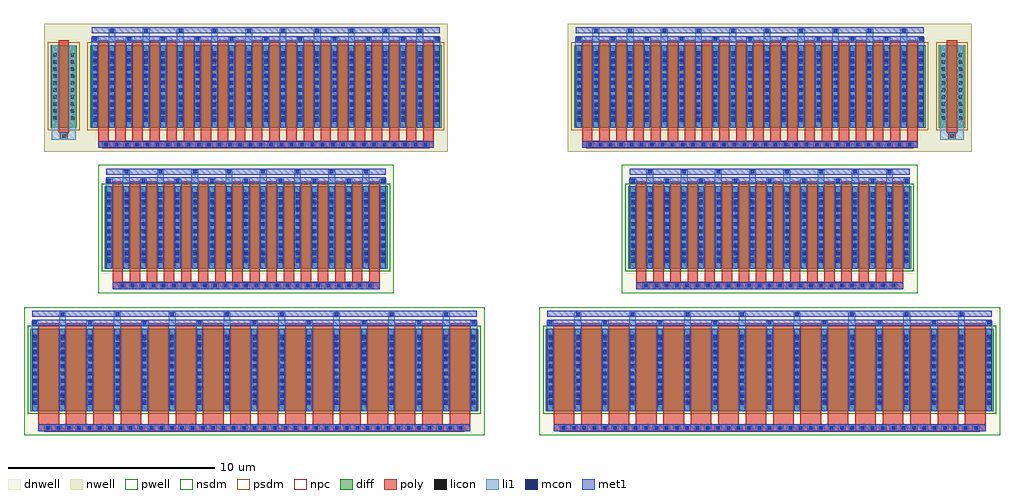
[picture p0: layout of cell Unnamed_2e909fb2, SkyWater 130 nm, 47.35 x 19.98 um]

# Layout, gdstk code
import gdstk
lib = gdstk.Library(unit=1e-6, precision=5e-09)
def R(c, l, rs):  # rectangles x0, y0, x1, y1
    for r in rs: c.add(gdstk.rectangle(r[:2], r[2:], *l))
def A(c, l, x, y, w, h, nx, ny, dx, dy):  # array of equal rectangles
    R(c, l, [(x+i*dx, y+j*dy, x+i*dx+w, y+j*dy+h) for i in range(nx) for j in range(ny)])
dnwell = (64, 18)
nwell = (64, 20)
pwell = (64, 44)
diff = (65, 20)
poly = (66, 20)
licon = (66, 44)
li1 = (67, 20)
mcon = (67, 44)
met1 = (68, 20)
nsdm = (93, 44)
psdm = (94, 20)
npc = (95, 20)

unnamed_d3320758 = lib.new_cell('Unnamed_d3320758')
R(unnamed_d3320758, nwell, [(-9.795,-3.11,9.795,3.115)])
R(unnamed_d3320758, diff, [(-9.485,-1.93,-8.205,2.07), (-7.565,-1.93,9.485,2.07)])
A(unnamed_d3320758, poly, -6.955, -2.91, 0.33, 0.33, 32, 1, 0.5, 0)
A(unnamed_d3320758, poly, -7.175, -2.58, 0.5, 0.4, 20, 1, 0.83, 0)
A(unnamed_d3320758, poly, -7.175, -2.18, 0.5, 4.5, 20, 1, 0.83, 0)
R(unnamed_d3320758, poly, [(-7.175,-2.91,9.095,-2.58), (-9.01,-2.51,-8.68,-2.18), (-9.01,-2.51,-8.68,-2.18), (-9.095,-2.18,-8.595,2.32)])
A(unnamed_d3320758, licon, -6.875, -2.83, 0.17, 0.17, 32, 1, 0.5, 0)
A(unnamed_d3320758, licon, -9.345, -1.545, 0.17, 0.17, 1, 10, 0, 0.34)
A(unnamed_d3320758, licon, -8.515, -1.545, 0.17, 0.17, 1, 10, 0, 0.34)
A(unnamed_d3320758, licon, -7.425, -1.545, 0.17, 0.17, 21, 10, 0.83, 0.34)
R(unnamed_d3320758, licon, [(-8.93,-2.43,-8.76,-2.26)])
A(unnamed_d3320758, li1, -6.955, -2.91, 0.33, 0.33, 32, 1, 0.5, 0)
A(unnamed_d3320758, li1, -7.505, -1.93, 0.33, 4, 21, 1, 0.83, 0)
A(unnamed_d3320758, li1, -7.425, -1.635, 0.17, 0.17, 21, 10, 0.83, 0.36)
A(unnamed_d3320758, li1, -7.425, -1.635, 0.17, 3.41, 21, 1, 0.83, 0)
A(unnamed_d3320758, li1, -9.425, -1.625, 0.33, 0.33, 1, 10, 0, 0.34)
A(unnamed_d3320758, li1, -8.595, -1.625, 0.33, 0.33, 1, 10, 0, 0.34)
A(unnamed_d3320758, li1, -7.505, -1.625, 0.33, 0.33, 21, 10, 0.83, 0.34)
A(unnamed_d3320758, li1, -7.505, 2.07, 0.33, 0.375, 11, 1, 1.66, 0)
A(unnamed_d3320758, li1, -6.675, 2.07, 0.33, 0.805, 10, 1, 1.66, 0)
A(unnamed_d3320758, li1, -7.425, 2.275, 0.17, 0.17, 11, 1, 1.66, 0)
A(unnamed_d3320758, li1, -6.595, 2.705, 0.17, 0.17, 10, 1, 1.66, 0)
R(unnamed_d3320758, li1, [(-9.425,-2.51,-9.01,-2.18), (-9.425,-2.51,-9.095,-1.93), (-9.01,-2.51,-8.68,-2.18), (-8.68,-2.51,-8.265,-2.18), (-8.595,-2.51,-8.265,-1.93), (-9.425,-1.93,-9.095,2.07), (-8.595,-1.93,-8.265,2.07)])
A(unnamed_d3320758, mcon, -6.875, -2.83, 0.17, 0.17, 32, 1, 0.5, 0)
A(unnamed_d3320758, mcon, -7.425, -1.635, 0.17, 0.17, 21, 10, 0.83, 0.36)
A(unnamed_d3320758, mcon, -7.425, 2.275, 0.17, 0.17, 11, 1, 1.66, 0)
A(unnamed_d3320758, mcon, -6.595, 2.705, 0.17, 0.17, 10, 1, 1.66, 0)
A(unnamed_d3320758, met1, -6.935, -2.89, 0.29, 0.29, 32, 1, 0.5, 0)
A(unnamed_d3320758, met1, -7.485, -1.93, 0.29, 4, 21, 1, 0.83, 0)
A(unnamed_d3320758, met1, -7.485, -1.695, 0.29, 0.29, 21, 10, 0.83, 0.36)
A(unnamed_d3320758, met1, -7.485, 2.215, 0.29, 0.29, 11, 1, 1.66, 0)
A(unnamed_d3320758, met1, -6.655, 2.645, 0.29, 0.29, 10, 1, 1.66, 0)
R(unnamed_d3320758, met1, [(-7.175,-2.91,9.095,-2.58), (-7.485,2.215,9.405,2.505), (-7.485,2.645,9.405,2.935)])
R(unnamed_d3320758, psdm, [(-9.615,-2.06,-8.075,2.2), (-7.695,-2.06,9.615,2.2)])
A(unnamed_d3320758, npc, -6.975, -2.93, 0.37, 0.37, 32, 1, 0.5, 0)
R(unnamed_d3320758, npc, [(-6.975,-2.93,-6.105,-2.56), (-6.975,-2.93,-6.105,-2.56), (-6.475,-2.93,-5.605,-2.56), (-6.475,-2.93,-5.605,-2.56), (-5.975,-2.93,-5.105,-2.56), (-5.975,-2.93,-5.105,-2.56), (-5.475,-2.93,-4.605,-2.56), (-5.475,-2.93,-4.605,-2.56), (-4.975,-2.93,-4.105,-2.56), (-4.975,-2.93,-4.105,-2.56), (-4.475,-2.93,-3.605,-2.56), (-4.475,-2.93,-3.605,-2.56), (-3.975,-2.93,-3.105,-2.56), (-3.975,-2.93,-3.105,-2.56), (-3.475,-2.93,-2.605,-2.56), (-3.475,-2.93,-2.605,-2.56), (-2.975,-2.93,-2.105,-2.56), (-2.975,-2.93,-2.105,-2.56), (-2.475,-2.93,-1.605,-2.56), (-2.475,-2.93,-1.605,-2.56), (-1.975,-2.93,-1.105,-2.56), (-1.975,-2.93,-1.105,-2.56), (-1.475,-2.93,-0.605,-2.56), (-1.475,-2.93,-0.605,-2.56), (-0.975,-2.93,-0.105,-2.56), (-0.975,-2.93,-0.105,-2.56), (-0.475,-2.93,0.395,-2.56), (-0.475,-2.93,0.395,-2.56), (0.025,-2.93,0.895,-2.56), (0.025,-2.93,0.895,-2.56), (0.525,-2.93,1.395,-2.56), (0.525,-2.93,1.395,-2.56), (1.025,-2.93,1.895,-2.56), (1.025,-2.93,1.895,-2.56), (1.525,-2.93,2.395,-2.56), (1.525,-2.93,2.395,-2.56), (2.025,-2.93,2.895,-2.56), (2.025,-2.93,2.895,-2.56), (2.525,-2.93,3.395,-2.56), (2.525,-2.93,3.395,-2.56), (3.025,-2.93,3.895,-2.56), (3.025,-2.93,3.895,-2.56), (3.525,-2.93,4.395,-2.56), (3.525,-2.93,4.395,-2.56), (4.025,-2.93,4.895,-2.56), (4.025,-2.93,4.895,-2.56), (4.525,-2.93,5.395,-2.56), (4.525,-2.93,5.395,-2.56), (5.025,-2.93,5.895,-2.56), (5.025,-2.93,5.895,-2.56), (5.525,-2.93,6.395,-2.56), (5.525,-2.93,6.395,-2.56), (6.025,-2.93,6.895,-2.56), (6.025,-2.93,6.895,-2.56), (6.525,-2.93,7.395,-2.56), (6.525,-2.93,7.395,-2.56), (7.025,-2.93,7.895,-2.56), (7.025,-2.93,7.895,-2.56), (7.525,-2.93,8.395,-2.56), (7.525,-2.93,8.395,-2.56), (8.025,-2.93,8.895,-2.56), (8.025,-2.93,8.895,-2.56), (-9.03,-2.53,-8.66,-2.16)])

unnamed_d97bb4dd = lib.new_cell('Unnamed_d97bb4dd')
R(unnamed_d97bb4dd, nwell, [(-9.795,-3.11,9.795,3.115)])
R(unnamed_d97bb4dd, diff, [(-9.485,-1.93,7.565,2.07), (8.205,-1.93,9.485,2.07)])
A(unnamed_d97bb4dd, poly, -8.875, -2.91, 0.33, 0.33, 32, 1, 0.5, 0)
A(unnamed_d97bb4dd, poly, -9.095, -2.58, 0.5, 0.4, 20, 1, 0.83, 0)
A(unnamed_d97bb4dd, poly, -9.095, -2.18, 0.5, 4.5, 20, 1, 0.83, 0)
R(unnamed_d97bb4dd, poly, [(-9.095,-2.91,7.175,-2.58), (8.68,-2.51,9.01,-2.18), (8.68,-2.51,9.01,-2.18), (8.595,-2.18,9.095,2.32)])
A(unnamed_d97bb4dd, licon, -8.795, -2.83, 0.17, 0.17, 32, 1, 0.5, 0)
A(unnamed_d97bb4dd, licon, -9.345, -1.545, 0.17, 0.17, 21, 10, 0.83, 0.34)
A(unnamed_d97bb4dd, licon, 8.345, -1.545, 0.17, 0.17, 1, 10, 0, 0.34)
A(unnamed_d97bb4dd, licon, 9.175, -1.545, 0.17, 0.17, 1, 10, 0, 0.34)
R(unnamed_d97bb4dd, licon, [(8.76,-2.43,8.93,-2.26)])
A(unnamed_d97bb4dd, li1, -8.875, -2.91, 0.33, 0.33, 32, 1, 0.5, 0)
A(unnamed_d97bb4dd, li1, -9.425, -1.93, 0.33, 4, 21, 1, 0.83, 0)
A(unnamed_d97bb4dd, li1, -9.345, -1.635, 0.17, 0.17, 21, 10, 0.83, 0.36)
A(unnamed_d97bb4dd, li1, -9.345, -1.635, 0.17, 3.41, 21, 1, 0.83, 0)
A(unnamed_d97bb4dd, li1, -9.425, -1.625, 0.33, 0.33, 21, 10, 0.83, 0.34)
A(unnamed_d97bb4dd, li1, 8.265, -1.625, 0.33, 0.33, 1, 10, 0, 0.34)
A(unnamed_d97bb4dd, li1, 9.095, -1.625, 0.33, 0.33, 1, 10, 0, 0.34)
A(unnamed_d97bb4dd, li1, -9.425, 2.07, 0.33, 0.375, 11, 1, 1.66, 0)
A(unnamed_d97bb4dd, li1, -8.595, 2.07, 0.33, 0.805, 10, 1, 1.66, 0)
A(unnamed_d97bb4dd, li1, -9.345, 2.275, 0.17, 0.17, 11, 1, 1.66, 0)
A(unnamed_d97bb4dd, li1, -8.515, 2.705, 0.17, 0.17, 10, 1, 1.66, 0)
R(unnamed_d97bb4dd, li1, [(8.265,-2.51,8.68,-2.18), (8.265,-2.51,8.595,-1.93), (8.68,-2.51,9.01,-2.18), (9.01,-2.51,9.425,-2.18), (9.095,-2.51,9.425,-1.93), (8.265,-1.93,8.595,2.07), (9.095,-1.93,9.425,2.07)])
A(unnamed_d97bb4dd, mcon, -8.795, -2.83, 0.17, 0.17, 32, 1, 0.5, 0)
A(unnamed_d97bb4dd, mcon, -9.345, -1.635, 0.17, 0.17, 21, 10, 0.83, 0.36)
A(unnamed_d97bb4dd, mcon, -9.345, 2.275, 0.17, 0.17, 11, 1, 1.66, 0)
A(unnamed_d97bb4dd, mcon, -8.515, 2.705, 0.17, 0.17, 10, 1, 1.66, 0)
A(unnamed_d97bb4dd, met1, -8.855, -2.89, 0.29, 0.29, 32, 1, 0.5, 0)
A(unnamed_d97bb4dd, met1, -9.405, -1.93, 0.29, 4, 21, 1, 0.83, 0)
A(unnamed_d97bb4dd, met1, -9.405, -1.695, 0.29, 0.29, 21, 10, 0.83, 0.36)
A(unnamed_d97bb4dd, met1, -9.405, 2.215, 0.29, 0.29, 11, 1, 1.66, 0)
A(unnamed_d97bb4dd, met1, -8.575, 2.645, 0.29, 0.29, 10, 1, 1.66, 0)
R(unnamed_d97bb4dd, met1, [(-9.095,-2.91,7.175,-2.58), (-9.405,2.215,7.485,2.505), (-9.405,2.645,7.485,2.935)])
R(unnamed_d97bb4dd, psdm, [(-9.615,-2.06,7.695,2.2), (8.075,-2.06,9.615,2.2)])
A(unnamed_d97bb4dd, npc, -8.895, -2.93, 0.37, 0.37, 32, 1, 0.5, 0)
R(unnamed_d97bb4dd, npc, [(-8.895,-2.93,-8.025,-2.56), (-8.895,-2.93,-8.025,-2.56), (-8.395,-2.93,-7.525,-2.56), (-8.395,-2.93,-7.525,-2.56), (-7.895,-2.93,-7.025,-2.56), (-7.895,-2.93,-7.025,-2.56), (-7.395,-2.93,-6.525,-2.56), (-7.395,-2.93,-6.525,-2.56), (-6.895,-2.93,-6.025,-2.56), (-6.895,-2.93,-6.025,-2.56), (-6.395,-2.93,-5.525,-2.56), (-6.395,-2.93,-5.525,-2.56), (-5.895,-2.93,-5.025,-2.56), (-5.895,-2.93,-5.025,-2.56), (-5.395,-2.93,-4.525,-2.56), (-5.395,-2.93,-4.525,-2.56), (-4.895,-2.93,-4.025,-2.56), (-4.895,-2.93,-4.025,-2.56), (-4.395,-2.93,-3.525,-2.56), (-4.395,-2.93,-3.525,-2.56), (-3.895,-2.93,-3.025,-2.56), (-3.895,-2.93,-3.025,-2.56), (-3.395,-2.93,-2.525,-2.56), (-3.395,-2.93,-2.525,-2.56), (-2.895,-2.93,-2.025,-2.56), (-2.895,-2.93,-2.025,-2.56), (-2.395,-2.93,-1.525,-2.56), (-2.395,-2.93,-1.525,-2.56), (-1.895,-2.93,-1.025,-2.56), (-1.895,-2.93,-1.025,-2.56), (-1.395,-2.93,-0.525,-2.56), (-1.395,-2.93,-0.525,-2.56), (-0.895,-2.93,-0.025,-2.56), (-0.895,-2.93,-0.025,-2.56), (-0.395,-2.93,0.475,-2.56), (-0.395,-2.93,0.475,-2.56), (0.105,-2.93,0.975,-2.56), (0.105,-2.93,0.975,-2.56), (0.605,-2.93,1.475,-2.56), (0.605,-2.93,1.475,-2.56), (1.105,-2.93,1.975,-2.56), (1.105,-2.93,1.975,-2.56), (1.605,-2.93,2.475,-2.56), (1.605,-2.93,2.475,-2.56), (2.105,-2.93,2.975,-2.56), (2.105,-2.93,2.975,-2.56), (2.605,-2.93,3.475,-2.56), (2.605,-2.93,3.475,-2.56), (3.105,-2.93,3.975,-2.56), (3.105,-2.93,3.975,-2.56), (3.605,-2.93,4.475,-2.56), (3.605,-2.93,4.475,-2.56), (4.105,-2.93,4.975,-2.56), (4.105,-2.93,4.975,-2.56), (4.605,-2.93,5.475,-2.56), (4.605,-2.93,5.475,-2.56), (5.105,-2.93,5.975,-2.56), (5.105,-2.93,5.975,-2.56), (5.605,-2.93,6.475,-2.56), (5.605,-2.93,6.475,-2.56), (6.105,-2.93,6.975,-2.56), (6.105,-2.93,6.975,-2.56), (8.66,-2.53,9.03,-2.16)])

unnamed_47f8d335 = lib.new_cell('Unnamed_47f8d335')
R(unnamed_47f8d335, dnwell, [(-11.175,-3.11,11.175,3.115)])
R(unnamed_47f8d335, pwell, [(-11.175,-3.11,11.175,3.115)])
R(unnamed_47f8d335, diff, [(-10.865,-1.93,10.865,2.07)])
A(unnamed_47f8d335, poly, -10.165, -2.91, 0.33, 0.33, 41, 1, 0.5, 0)
A(unnamed_47f8d335, poly, -10.475, -2.58, 1, 0.4, 16, 1, 1.33, 0)
A(unnamed_47f8d335, poly, -10.475, -2.18, 1, 4.5, 16, 1, 1.33, 0)
R(unnamed_47f8d335, poly, [(-10.475,-2.91,10.475,-2.58)])
A(unnamed_47f8d335, licon, -10.085, -2.83, 0.17, 0.17, 41, 1, 0.5, 0)
A(unnamed_47f8d335, licon, -10.725, -1.545, 0.17, 0.17, 17, 10, 1.33, 0.34)
A(unnamed_47f8d335, li1, -10.165, -2.91, 0.33, 0.33, 41, 1, 0.5, 0)
A(unnamed_47f8d335, li1, -10.805, -1.93, 0.33, 4, 17, 1, 1.33, 0)
A(unnamed_47f8d335, li1, -10.725, -1.635, 0.17, 0.17, 17, 10, 1.33, 0.36)
A(unnamed_47f8d335, li1, -10.725, -1.635, 0.17, 3.41, 17, 1, 1.33, 0)
A(unnamed_47f8d335, li1, -10.805, -1.625, 0.33, 0.33, 17, 10, 1.33, 0.34)
A(unnamed_47f8d335, li1, -10.805, 2.07, 0.33, 0.375, 9, 1, 2.66, 0)
A(unnamed_47f8d335, li1, -9.475, 2.07, 0.33, 0.805, 8, 1, 2.66, 0)
A(unnamed_47f8d335, li1, -10.725, 2.275, 0.17, 0.17, 9, 1, 2.66, 0)
A(unnamed_47f8d335, li1, -9.395, 2.705, 0.17, 0.17, 8, 1, 2.66, 0)
A(unnamed_47f8d335, mcon, -10.085, -2.83, 0.17, 0.17, 41, 1, 0.5, 0)
A(unnamed_47f8d335, mcon, -10.725, -1.635, 0.17, 0.17, 17, 10, 1.33, 0.36)
A(unnamed_47f8d335, mcon, -10.725, 2.275, 0.17, 0.17, 9, 1, 2.66, 0)
A(unnamed_47f8d335, mcon, -9.395, 2.705, 0.17, 0.17, 8, 1, 2.66, 0)
A(unnamed_47f8d335, met1, -10.145, -2.89, 0.29, 0.29, 41, 1, 0.5, 0)
A(unnamed_47f8d335, met1, -10.785, -1.93, 0.29, 4, 17, 1, 1.33, 0)
A(unnamed_47f8d335, met1, -10.785, -1.695, 0.29, 0.29, 17, 10, 1.33, 0.36)
A(unnamed_47f8d335, met1, -10.785, 2.215, 0.29, 0.29, 9, 1, 2.66, 0)
A(unnamed_47f8d335, met1, -9.455, 2.645, 0.29, 0.29, 8, 1, 2.66, 0)
R(unnamed_47f8d335, met1, [(-10.475,-2.91,10.475,-2.58), (-10.785,2.215,10.785,2.505), (-10.785,2.645,10.785,2.935)])
R(unnamed_47f8d335, nsdm, [(-10.995,-2.06,10.995,2.2)])
A(unnamed_47f8d335, npc, -10.185, -2.93, 0.37, 0.37, 41, 1, 0.5, 0)
R(unnamed_47f8d335, npc, [(-10.185,-2.93,-9.315,-2.56), (-10.185,-2.93,-9.315,-2.56), (-9.685,-2.93,-8.815,-2.56), (-9.685,-2.93,-8.815,-2.56), (-9.185,-2.93,-8.315,-2.56), (-9.185,-2.93,-8.315,-2.56), (-8.685,-2.93,-7.815,-2.56), (-8.685,-2.93,-7.815,-2.56), (-8.185,-2.93,-7.315,-2.56), (-8.185,-2.93,-7.315,-2.56), (-7.685,-2.93,-6.815,-2.56), (-7.685,-2.93,-6.815,-2.56), (-7.185,-2.93,-6.315,-2.56), (-7.185,-2.93,-6.315,-2.56), (-6.685,-2.93,-5.815,-2.56), (-6.685,-2.93,-5.815,-2.56), (-6.185,-2.93,-5.315,-2.56), (-6.185,-2.93,-5.315,-2.56), (-5.685,-2.93,-4.815,-2.56), (-5.685,-2.93,-4.815,-2.56), (-5.185,-2.93,-4.315,-2.56), (-5.185,-2.93,-4.315,-2.56), (-4.685,-2.93,-3.815,-2.56), (-4.685,-2.93,-3.815,-2.56), (-4.185,-2.93,-3.315,-2.56), (-4.185,-2.93,-3.315,-2.56), (-3.685,-2.93,-2.815,-2.56), (-3.685,-2.93,-2.815,-2.56), (-3.185,-2.93,-2.315,-2.56), (-3.185,-2.93,-2.315,-2.56), (-2.685,-2.93,-1.815,-2.56), (-2.685,-2.93,-1.815,-2.56), (-2.185,-2.93,-1.315,-2.56), (-2.185,-2.93,-1.315,-2.56), (-1.685,-2.93,-0.815,-2.56), (-1.685,-2.93,-0.815,-2.56), (-1.185,-2.93,-0.315,-2.56), (-1.185,-2.93,-0.315,-2.56), (-0.685,-2.93,0.185,-2.56), (-0.685,-2.93,0.185,-2.56), (-0.185,-2.93,0.685,-2.56), (-0.185,-2.93,0.685,-2.56), (0.315,-2.93,1.185,-2.56), (0.315,-2.93,1.185,-2.56), (0.815,-2.93,1.685,-2.56), (0.815,-2.93,1.685,-2.56), (1.315,-2.93,2.185,-2.56), (1.315,-2.93,2.185,-2.56), (1.815,-2.93,2.685,-2.56), (1.815,-2.93,2.685,-2.56), (2.315,-2.93,3.185,-2.56), (2.315,-2.93,3.185,-2.56), (2.815,-2.93,3.685,-2.56), (2.815,-2.93,3.685,-2.56), (3.315,-2.93,4.185,-2.56), (3.315,-2.93,4.185,-2.56), (3.815,-2.93,4.685,-2.56), (3.815,-2.93,4.685,-2.56), (4.315,-2.93,5.185,-2.56), (4.315,-2.93,5.185,-2.56), (4.815,-2.93,5.685,-2.56), (4.815,-2.93,5.685,-2.56), (5.315,-2.93,6.185,-2.56), (5.315,-2.93,6.185,-2.56), (5.815,-2.93,6.685,-2.56), (5.815,-2.93,6.685,-2.56), (6.315,-2.93,7.185,-2.56), (6.315,-2.93,7.185,-2.56), (6.815,-2.93,7.685,-2.56), (6.815,-2.93,7.685,-2.56), (7.315,-2.93,8.185,-2.56), (7.315,-2.93,8.185,-2.56), (7.815,-2.93,8.685,-2.56), (7.815,-2.93,8.685,-2.56), (8.315,-2.93,9.185,-2.56), (8.315,-2.93,9.185,-2.56), (8.815,-2.93,9.685,-2.56), (8.815,-2.93,9.685,-2.56), (9.315,-2.93,10.185,-2.56), (9.315,-2.93,10.185,-2.56)])

unnamed_654f1eba = lib.new_cell('Unnamed_654f1eba')
R(unnamed_654f1eba, dnwell, [(-11.175,-3.11,11.175,3.115)])
R(unnamed_654f1eba, pwell, [(-11.175,-3.11,11.175,3.115)])
R(unnamed_654f1eba, diff, [(-10.865,-1.93,10.865,2.07)])
A(unnamed_654f1eba, poly, -10.165, -2.91, 0.33, 0.33, 41, 1, 0.5, 0)
A(unnamed_654f1eba, poly, -10.475, -2.58, 1, 0.4, 16, 1, 1.33, 0)
A(unnamed_654f1eba, poly, -10.475, -2.18, 1, 4.5, 16, 1, 1.33, 0)
R(unnamed_654f1eba, poly, [(-10.475,-2.91,10.475,-2.58)])
A(unnamed_654f1eba, licon, -10.085, -2.83, 0.17, 0.17, 41, 1, 0.5, 0)
A(unnamed_654f1eba, licon, -10.725, -1.545, 0.17, 0.17, 17, 10, 1.33, 0.34)
A(unnamed_654f1eba, li1, -10.165, -2.91, 0.33, 0.33, 41, 1, 0.5, 0)
A(unnamed_654f1eba, li1, -10.805, -1.93, 0.33, 4, 17, 1, 1.33, 0)
A(unnamed_654f1eba, li1, -10.725, -1.635, 0.17, 0.17, 17, 10, 1.33, 0.36)
A(unnamed_654f1eba, li1, -10.725, -1.635, 0.17, 3.41, 17, 1, 1.33, 0)
A(unnamed_654f1eba, li1, -10.805, -1.625, 0.33, 0.33, 17, 10, 1.33, 0.34)
A(unnamed_654f1eba, li1, -10.805, 2.07, 0.33, 0.375, 9, 1, 2.66, 0)
A(unnamed_654f1eba, li1, -9.475, 2.07, 0.33, 0.805, 8, 1, 2.66, 0)
A(unnamed_654f1eba, li1, -10.725, 2.275, 0.17, 0.17, 9, 1, 2.66, 0)
A(unnamed_654f1eba, li1, -9.395, 2.705, 0.17, 0.17, 8, 1, 2.66, 0)
A(unnamed_654f1eba, mcon, -10.085, -2.83, 0.17, 0.17, 41, 1, 0.5, 0)
A(unnamed_654f1eba, mcon, -10.725, -1.635, 0.17, 0.17, 17, 10, 1.33, 0.36)
A(unnamed_654f1eba, mcon, -10.725, 2.275, 0.17, 0.17, 9, 1, 2.66, 0)
A(unnamed_654f1eba, mcon, -9.395, 2.705, 0.17, 0.17, 8, 1, 2.66, 0)
A(unnamed_654f1eba, met1, -10.145, -2.89, 0.29, 0.29, 41, 1, 0.5, 0)
A(unnamed_654f1eba, met1, -10.785, -1.93, 0.29, 4, 17, 1, 1.33, 0)
A(unnamed_654f1eba, met1, -10.785, -1.695, 0.29, 0.29, 17, 10, 1.33, 0.36)
A(unnamed_654f1eba, met1, -10.785, 2.215, 0.29, 0.29, 9, 1, 2.66, 0)
A(unnamed_654f1eba, met1, -9.455, 2.645, 0.29, 0.29, 8, 1, 2.66, 0)
R(unnamed_654f1eba, met1, [(-10.475,-2.91,10.475,-2.58), (-10.785,2.215,10.785,2.505), (-10.785,2.645,10.785,2.935)])
R(unnamed_654f1eba, nsdm, [(-10.995,-2.06,10.995,2.2)])
A(unnamed_654f1eba, npc, -10.185, -2.93, 0.37, 0.37, 41, 1, 0.5, 0)
R(unnamed_654f1eba, npc, [(-10.185,-2.93,-9.315,-2.56), (-10.185,-2.93,-9.315,-2.56), (-9.685,-2.93,-8.815,-2.56), (-9.685,-2.93,-8.815,-2.56), (-9.185,-2.93,-8.315,-2.56), (-9.185,-2.93,-8.315,-2.56), (-8.685,-2.93,-7.815,-2.56), (-8.685,-2.93,-7.815,-2.56), (-8.185,-2.93,-7.315,-2.56), (-8.185,-2.93,-7.315,-2.56), (-7.685,-2.93,-6.815,-2.56), (-7.685,-2.93,-6.815,-2.56), (-7.185,-2.93,-6.315,-2.56), (-7.185,-2.93,-6.315,-2.56), (-6.685,-2.93,-5.815,-2.56), (-6.685,-2.93,-5.815,-2.56), (-6.185,-2.93,-5.315,-2.56), (-6.185,-2.93,-5.315,-2.56), (-5.685,-2.93,-4.815,-2.56), (-5.685,-2.93,-4.815,-2.56), (-5.185,-2.93,-4.315,-2.56), (-5.185,-2.93,-4.315,-2.56), (-4.685,-2.93,-3.815,-2.56), (-4.685,-2.93,-3.815,-2.56), (-4.185,-2.93,-3.315,-2.56), (-4.185,-2.93,-3.315,-2.56), (-3.685,-2.93,-2.815,-2.56), (-3.685,-2.93,-2.815,-2.56), (-3.185,-2.93,-2.315,-2.56), (-3.185,-2.93,-2.315,-2.56), (-2.685,-2.93,-1.815,-2.56), (-2.685,-2.93,-1.815,-2.56), (-2.185,-2.93,-1.315,-2.56), (-2.185,-2.93,-1.315,-2.56), (-1.685,-2.93,-0.815,-2.56), (-1.685,-2.93,-0.815,-2.56), (-1.185,-2.93,-0.315,-2.56), (-1.185,-2.93,-0.315,-2.56), (-0.685,-2.93,0.185,-2.56), (-0.685,-2.93,0.185,-2.56), (-0.185,-2.93,0.685,-2.56), (-0.185,-2.93,0.685,-2.56), (0.315,-2.93,1.185,-2.56), (0.315,-2.93,1.185,-2.56), (0.815,-2.93,1.685,-2.56), (0.815,-2.93,1.685,-2.56), (1.315,-2.93,2.185,-2.56), (1.315,-2.93,2.185,-2.56), (1.815,-2.93,2.685,-2.56), (1.815,-2.93,2.685,-2.56), (2.315,-2.93,3.185,-2.56), (2.315,-2.93,3.185,-2.56), (2.815,-2.93,3.685,-2.56), (2.815,-2.93,3.685,-2.56), (3.315,-2.93,4.185,-2.56), (3.315,-2.93,4.185,-2.56), (3.815,-2.93,4.685,-2.56), (3.815,-2.93,4.685,-2.56), (4.315,-2.93,5.185,-2.56), (4.315,-2.93,5.185,-2.56), (4.815,-2.93,5.685,-2.56), (4.815,-2.93,5.685,-2.56), (5.315,-2.93,6.185,-2.56), (5.315,-2.93,6.185,-2.56), (5.815,-2.93,6.685,-2.56), (5.815,-2.93,6.685,-2.56), (6.315,-2.93,7.185,-2.56), (6.315,-2.93,7.185,-2.56), (6.815,-2.93,7.685,-2.56), (6.815,-2.93,7.685,-2.56), (7.315,-2.93,8.185,-2.56), (7.315,-2.93,8.185,-2.56), (7.815,-2.93,8.685,-2.56), (7.815,-2.93,8.685,-2.56), (8.315,-2.93,9.185,-2.56), (8.315,-2.93,9.185,-2.56), (8.815,-2.93,9.685,-2.56), (8.815,-2.93,9.685,-2.56), (9.315,-2.93,10.185,-2.56), (9.315,-2.93,10.185,-2.56)])

unnamed_9158ccb6 = lib.new_cell('Unnamed_9158ccb6')
R(unnamed_9158ccb6, dnwell, [(-7.175,-3.11,7.175,3.115)])
R(unnamed_9158ccb6, pwell, [(-7.175,-3.11,7.175,3.115)])
R(unnamed_9158ccb6, diff, [(-6.865,-1.93,6.865,2.07)])
A(unnamed_9158ccb6, poly, -6.165, -2.91, 0.33, 0.33, 25, 1, 0.5, 0)
A(unnamed_9158ccb6, poly, -6.475, -2.58, 0.5, 0.4, 16, 1, 0.83, 0)
A(unnamed_9158ccb6, poly, -6.475, -2.18, 0.5, 4.5, 16, 1, 0.83, 0)
R(unnamed_9158ccb6, poly, [(-6.475,-2.91,6.475,-2.58)])
A(unnamed_9158ccb6, licon, -6.085, -2.83, 0.17, 0.17, 25, 1, 0.5, 0)
A(unnamed_9158ccb6, licon, -6.725, -1.545, 0.17, 0.17, 17, 10, 0.83, 0.34)
A(unnamed_9158ccb6, li1, -6.165, -2.91, 0.33, 0.33, 25, 1, 0.5, 0)
A(unnamed_9158ccb6, li1, -6.805, -1.93, 0.33, 4, 17, 1, 0.83, 0)
A(unnamed_9158ccb6, li1, -6.725, -1.635, 0.17, 0.17, 17, 10, 0.83, 0.36)
A(unnamed_9158ccb6, li1, -6.725, -1.635, 0.17, 3.41, 17, 1, 0.83, 0)
A(unnamed_9158ccb6, li1, -6.805, -1.625, 0.33, 0.33, 17, 10, 0.83, 0.34)
A(unnamed_9158ccb6, li1, -6.805, 2.07, 0.33, 0.375, 9, 1, 1.66, 0)
A(unnamed_9158ccb6, li1, -5.975, 2.07, 0.33, 0.805, 8, 1, 1.66, 0)
A(unnamed_9158ccb6, li1, -6.725, 2.275, 0.17, 0.17, 9, 1, 1.66, 0)
A(unnamed_9158ccb6, li1, -5.895, 2.705, 0.17, 0.17, 8, 1, 1.66, 0)
A(unnamed_9158ccb6, mcon, -6.085, -2.83, 0.17, 0.17, 25, 1, 0.5, 0)
A(unnamed_9158ccb6, mcon, -6.725, -1.635, 0.17, 0.17, 17, 10, 0.83, 0.36)
A(unnamed_9158ccb6, mcon, -6.725, 2.275, 0.17, 0.17, 9, 1, 1.66, 0)
A(unnamed_9158ccb6, mcon, -5.895, 2.705, 0.17, 0.17, 8, 1, 1.66, 0)
A(unnamed_9158ccb6, met1, -6.145, -2.89, 0.29, 0.29, 25, 1, 0.5, 0)
A(unnamed_9158ccb6, met1, -6.785, -1.93, 0.29, 4, 17, 1, 0.83, 0)
A(unnamed_9158ccb6, met1, -6.785, -1.695, 0.29, 0.29, 17, 10, 0.83, 0.36)
A(unnamed_9158ccb6, met1, -6.785, 2.215, 0.29, 0.29, 9, 1, 1.66, 0)
A(unnamed_9158ccb6, met1, -5.955, 2.645, 0.29, 0.29, 8, 1, 1.66, 0)
R(unnamed_9158ccb6, met1, [(-6.475,-2.91,6.475,-2.58), (-6.785,2.215,6.785,2.505), (-6.785,2.645,6.785,2.935)])
R(unnamed_9158ccb6, nsdm, [(-6.995,-2.06,6.995,2.2)])
A(unnamed_9158ccb6, npc, -6.185, -2.93, 0.37, 0.37, 25, 1, 0.5, 0)
R(unnamed_9158ccb6, npc, [(-6.185,-2.93,-5.315,-2.56), (-6.185,-2.93,-5.315,-2.56), (-5.685,-2.93,-4.815,-2.56), (-5.685,-2.93,-4.815,-2.56), (-5.185,-2.93,-4.315,-2.56), (-5.185,-2.93,-4.315,-2.56), (-4.685,-2.93,-3.815,-2.56), (-4.685,-2.93,-3.815,-2.56), (-4.185,-2.93,-3.315,-2.56), (-4.185,-2.93,-3.315,-2.56), (-3.685,-2.93,-2.815,-2.56), (-3.685,-2.93,-2.815,-2.56), (-3.185,-2.93,-2.315,-2.56), (-3.185,-2.93,-2.315,-2.56), (-2.685,-2.93,-1.815,-2.56), (-2.685,-2.93,-1.815,-2.56), (-2.185,-2.93,-1.315,-2.56), (-2.185,-2.93,-1.315,-2.56), (-1.685,-2.93,-0.815,-2.56), (-1.685,-2.93,-0.815,-2.56), (-1.185,-2.93,-0.315,-2.56), (-1.185,-2.93,-0.315,-2.56), (-0.685,-2.93,0.185,-2.56), (-0.685,-2.93,0.185,-2.56), (-0.185,-2.93,0.685,-2.56), (-0.185,-2.93,0.685,-2.56), (0.315,-2.93,1.185,-2.56), (0.315,-2.93,1.185,-2.56), (0.815,-2.93,1.685,-2.56), (0.815,-2.93,1.685,-2.56), (1.315,-2.93,2.185,-2.56), (1.315,-2.93,2.185,-2.56), (1.815,-2.93,2.685,-2.56), (1.815,-2.93,2.685,-2.56), (2.315,-2.93,3.185,-2.56), (2.315,-2.93,3.185,-2.56), (2.815,-2.93,3.685,-2.56), (2.815,-2.93,3.685,-2.56), (3.315,-2.93,4.185,-2.56), (3.315,-2.93,4.185,-2.56), (3.815,-2.93,4.685,-2.56), (3.815,-2.93,4.685,-2.56), (4.315,-2.93,5.185,-2.56), (4.315,-2.93,5.185,-2.56), (4.815,-2.93,5.685,-2.56), (4.815,-2.93,5.685,-2.56), (5.315,-2.93,6.185,-2.56), (5.315,-2.93,6.185,-2.56)])

unnamed_84825f33 = lib.new_cell('Unnamed_84825f33')
R(unnamed_84825f33, dnwell, [(-7.175,-3.11,7.175,3.115)])
R(unnamed_84825f33, pwell, [(-7.175,-3.11,7.175,3.115)])
R(unnamed_84825f33, diff, [(-6.865,-1.93,6.865,2.07)])
A(unnamed_84825f33, poly, -6.165, -2.91, 0.33, 0.33, 25, 1, 0.5, 0)
A(unnamed_84825f33, poly, -6.475, -2.58, 0.5, 0.4, 16, 1, 0.83, 0)
A(unnamed_84825f33, poly, -6.475, -2.18, 0.5, 4.5, 16, 1, 0.83, 0)
R(unnamed_84825f33, poly, [(-6.475,-2.91,6.475,-2.58)])
A(unnamed_84825f33, licon, -6.085, -2.83, 0.17, 0.17, 25, 1, 0.5, 0)
A(unnamed_84825f33, licon, -6.725, -1.545, 0.17, 0.17, 17, 10, 0.83, 0.34)
A(unnamed_84825f33, li1, -6.165, -2.91, 0.33, 0.33, 25, 1, 0.5, 0)
A(unnamed_84825f33, li1, -6.805, -1.93, 0.33, 4, 17, 1, 0.83, 0)
A(unnamed_84825f33, li1, -6.725, -1.635, 0.17, 0.17, 17, 10, 0.83, 0.36)
A(unnamed_84825f33, li1, -6.725, -1.635, 0.17, 3.41, 17, 1, 0.83, 0)
A(unnamed_84825f33, li1, -6.805, -1.625, 0.33, 0.33, 17, 10, 0.83, 0.34)
A(unnamed_84825f33, li1, -6.805, 2.07, 0.33, 0.375, 9, 1, 1.66, 0)
A(unnamed_84825f33, li1, -5.975, 2.07, 0.33, 0.805, 8, 1, 1.66, 0)
A(unnamed_84825f33, li1, -6.725, 2.275, 0.17, 0.17, 9, 1, 1.66, 0)
A(unnamed_84825f33, li1, -5.895, 2.705, 0.17, 0.17, 8, 1, 1.66, 0)
A(unnamed_84825f33, mcon, -6.085, -2.83, 0.17, 0.17, 25, 1, 0.5, 0)
A(unnamed_84825f33, mcon, -6.725, -1.635, 0.17, 0.17, 17, 10, 0.83, 0.36)
A(unnamed_84825f33, mcon, -6.725, 2.275, 0.17, 0.17, 9, 1, 1.66, 0)
A(unnamed_84825f33, mcon, -5.895, 2.705, 0.17, 0.17, 8, 1, 1.66, 0)
A(unnamed_84825f33, met1, -6.145, -2.89, 0.29, 0.29, 25, 1, 0.5, 0)
A(unnamed_84825f33, met1, -6.785, -1.93, 0.29, 4, 17, 1, 0.83, 0)
A(unnamed_84825f33, met1, -6.785, -1.695, 0.29, 0.29, 17, 10, 0.83, 0.36)
A(unnamed_84825f33, met1, -6.785, 2.215, 0.29, 0.29, 9, 1, 1.66, 0)
A(unnamed_84825f33, met1, -5.955, 2.645, 0.29, 0.29, 8, 1, 1.66, 0)
R(unnamed_84825f33, met1, [(-6.475,-2.91,6.475,-2.58), (-6.785,2.215,6.785,2.505), (-6.785,2.645,6.785,2.935)])
R(unnamed_84825f33, nsdm, [(-6.995,-2.06,6.995,2.2)])
A(unnamed_84825f33, npc, -6.185, -2.93, 0.37, 0.37, 25, 1, 0.5, 0)
R(unnamed_84825f33, npc, [(-6.185,-2.93,-5.315,-2.56), (-6.185,-2.93,-5.315,-2.56), (-5.685,-2.93,-4.815,-2.56), (-5.685,-2.93,-4.815,-2.56), (-5.185,-2.93,-4.315,-2.56), (-5.185,-2.93,-4.315,-2.56), (-4.685,-2.93,-3.815,-2.56), (-4.685,-2.93,-3.815,-2.56), (-4.185,-2.93,-3.315,-2.56), (-4.185,-2.93,-3.315,-2.56), (-3.685,-2.93,-2.815,-2.56), (-3.685,-2.93,-2.815,-2.56), (-3.185,-2.93,-2.315,-2.56), (-3.185,-2.93,-2.315,-2.56), (-2.685,-2.93,-1.815,-2.56), (-2.685,-2.93,-1.815,-2.56), (-2.185,-2.93,-1.315,-2.56), (-2.185,-2.93,-1.315,-2.56), (-1.685,-2.93,-0.815,-2.56), (-1.685,-2.93,-0.815,-2.56), (-1.185,-2.93,-0.315,-2.56), (-1.185,-2.93,-0.315,-2.56), (-0.685,-2.93,0.185,-2.56), (-0.685,-2.93,0.185,-2.56), (-0.185,-2.93,0.685,-2.56), (-0.185,-2.93,0.685,-2.56), (0.315,-2.93,1.185,-2.56), (0.315,-2.93,1.185,-2.56), (0.815,-2.93,1.685,-2.56), (0.815,-2.93,1.685,-2.56), (1.315,-2.93,2.185,-2.56), (1.315,-2.93,2.185,-2.56), (1.815,-2.93,2.685,-2.56), (1.815,-2.93,2.685,-2.56), (2.315,-2.93,3.185,-2.56), (2.315,-2.93,3.185,-2.56), (2.815,-2.93,3.685,-2.56), (2.815,-2.93,3.685,-2.56), (3.315,-2.93,4.185,-2.56), (3.315,-2.93,4.185,-2.56), (3.815,-2.93,4.685,-2.56), (3.815,-2.93,4.685,-2.56), (4.315,-2.93,5.185,-2.56), (4.315,-2.93,5.185,-2.56), (4.815,-2.93,5.685,-2.56), (4.815,-2.93,5.685,-2.56), (5.315,-2.93,6.185,-2.56), (5.315,-2.93,6.185,-2.56)])

unnamed_2e909fb2 = lib.new_cell('Unnamed_2e909fb2')
unnamed_2e909fb2.add(gdstk.Reference(unnamed_d3320758, (0,13.75)))
unnamed_2e909fb2.add(gdstk.Reference(unnamed_d97bb4dd, (25.4,13.75)))
unnamed_2e909fb2.add(gdstk.Reference(unnamed_47f8d335, (0.4,0)))
unnamed_2e909fb2.add(gdstk.Reference(unnamed_654f1eba, (25.4,0)))
unnamed_2e909fb2.add(gdstk.Reference(unnamed_9158ccb6, (0,6.9)))
unnamed_2e909fb2.add(gdstk.Reference(unnamed_84825f33, (25.4,6.9)))

lib.write_gds('Unnamed_2e909fb2.gds')
